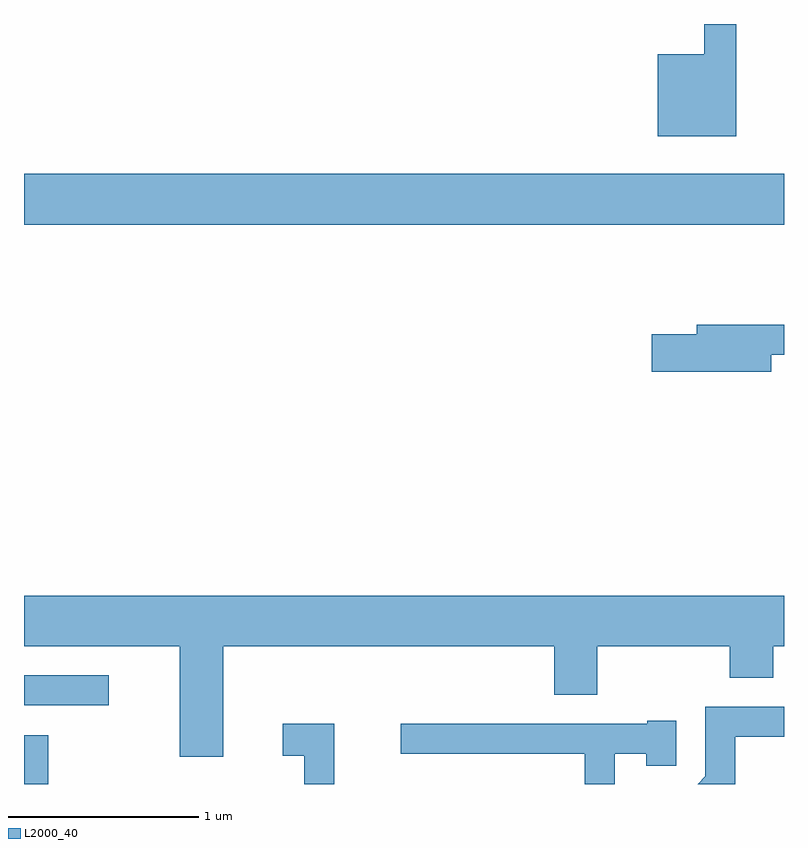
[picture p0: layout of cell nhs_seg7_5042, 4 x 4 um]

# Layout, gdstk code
import gdstk
lib = gdstk.Library(unit=1e-6, precision=1e-09)
def R(c, l, rs):  # rectangles x0, y0, x1, y1
    for r in rs: c.add(gdstk.rectangle(r[:2], r[2:], *l))
def P(c, l, *ps):  # polygons
    for p in ps: c.add(gdstk.Polygon(p, *l))
L2000_40 = (2000, 40)

nhs_seg7_5042 = lib.new_cell('nhs_seg7_5042')
R(nhs_seg7_5042, L2000_40, [(339.611,1720.252,339.739,1720.509), (339.611,1720.666,340.058,1720.824), (339.611,1723.196,343.611,1723.464)])
P(nhs_seg7_5042, L2000_40, [(343.359,1724.252),(343.191,1724.252),(343.191,1724.094),(342.946,1724.094),(342.946,1723.661),(343.359,1723.661)],
  [(343.544,1722.511),(343.611,1722.511),(343.611,1722.669),(343.151,1722.669),(343.151,1722.619),(342.916,1722.619),(342.916,1722.421),(343.544,1722.421)],
  [(340.659,1720.976),(342.401,1720.976),(342.401,1720.721),(342.629,1720.721),(342.629,1720.976),(343.326,1720.976),(343.326,1720.811),(343.554,1720.811),(343.554,1720.976),(343.611,1720.976),(343.611,1721.244),(339.611,1721.244),(339.611,1720.976),(340.431,1720.976),(340.431,1720.396),(340.659,1720.396)],
  [(343.354,1720.501),(343.611,1720.501),(343.611,1720.659),(343.196,1720.659),(343.196,1720.292),(343.156,1720.252),(343.354,1720.252)],
  [(342.719,1720.411),(342.886,1720.411),(342.886,1720.348),(343.044,1720.348),(343.044,1720.584),(342.89,1720.584),(342.89,1720.569),(341.593,1720.569),(341.593,1720.411),(342.561,1720.411),(342.561,1720.252),(342.719,1720.252)],
  [(341.244,1720.569),(340.973,1720.569),(340.973,1720.401),(341.086,1720.401),(341.086,1720.252),(341.244,1720.252)])

lib.write_gds('nhs_seg7_5042.gds')
